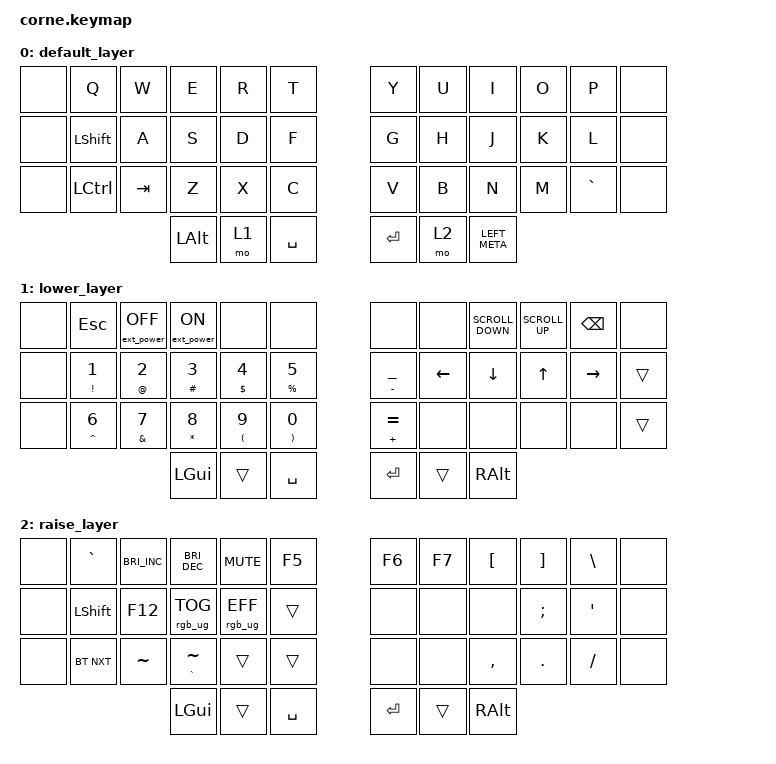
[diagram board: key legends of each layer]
/*
 * Copyright (c) 2020 The ZMK Contributors
 *
 * SPDX-License-Identifier: MIT
 */

#include <behaviors.dtsi>
#include <dt-bindings/zmk/bt.h>
#include <dt-bindings/zmk/ext_power.h>
#include <dt-bindings/zmk/keys.h>
#include <dt-bindings/zmk/rgb.h>

/ {
    keymap {
        compatible = "zmk,keymap";

        default_layer {
            // -----------------------------------------------------------------------------------------
            // |  TAB |  Q  |  W  |  E  |  R  |  T  |   |  Y  |  U   |  I  |  O  |  P  | BKSP |
            // | CTRL |  A  |  S  |  D  |  F  |  G  |   |  H  |  J   |  K  |  L  |  ;  |  '   |
            // | SHFT |  Z  |  X  |  C  |  V  |  B  |   |  N  |  M   |  ,  |  .  |  /  | ESC  |
            //                    | GUI | LWR | SPC |   | ENT | RSE  | ALT |

            bindings = <
&none  &kp Q           &kp W    &kp E         &kp R  &kp T        &kp Y    &kp U  &kp I          &kp O  &kp P      &none
&none  &kp LEFT_SHIFT  &kp A    &kp S         &kp D  &kp F        &kp G    &kp H  &kp J          &kp K  &kp L      &none
&none  &kp LCTRL       &kp TAB  &kp Z         &kp X  &kp C        &kp V    &kp B  &kp N          &kp M  &kp GRAVE  &none
                                &kp LEFT_ALT  &mo 1  &kp SPACE    &kp RET  &mo 2  &kp LEFT_META
            >;
        };

        lower_layer {
            // -----------------------------------------------------------------------------------------
            // |  TAB |  1  |  2  |  3  |  4  |  5  |   |  6  |  7  |  8  |  9  |  0  | BKSP |
            // | BTCLR| BT1 | BT2 | BT3 | BT4 | BT5 |   | LFT | DWN |  UP | RGT |     |      |
            // | SHFT |     |     |     |     |     |   |     |     |     |     |     |      |
            //                    | GUI |     | SPC |   | ENT |     | ALT |

            bindings = <
&none  &kp ESCAPE                &ext_power EP_OFF       &ext_power EP_ON       &none                          &none                             &none                 &none     &kp K_SCROLL_DOWN  &kp K_SCROLL_UP  &kp BACKSPACE  &none
&none  &mt EXCLAMATION NUMBER_1  &mt AT_SIGN NUMBER_2    &mt HASH NUMBER_3      &mt DOLLAR NUMBER_4            &mt PERCENT NUMBER_5              &mt MINUS UNDERSCORE  &kp LEFT  &kp DOWN           &kp UP_ARROW     &kp RIGHT      &trans
&none  &mt CARET NUMBER_6        &mt AMPERSAND NUMBER_7  &mt ASTERISK NUMBER_8  &mt LEFT_PARENTHESIS NUMBER_9  &mt RIGHT_PARENTHESIS NUMBER_0    &mt PLUS EQUAL        &none     &none              &none            &none          &trans
                                                         &kp LGUI               &trans                         &kp SPACE                         &kp RET               &trans    &kp RALT
            >;
        };

        raise_layer {
            // -----------------------------------------------------------------------------------------
            // |  TAB |  !  |  @  |  #  |  $  |  %  |   |  ^  |  &  |  *  |  (  |  )  | BKSP |
            // | CTRL |     |     |     |     |     |   |  -  |  =  |  [  |  ]  |  \  |  `   |
            // | SHFT |     |     |     |     |     |   |  _  |  +  |  {  |  }  | "|" |  ~   |
            //                    | GUI |     | SPC |   | ENT |     | ALT |

            bindings = <
&none  &kp GRAVE       &kp C_BRIGHTNESS_INC  &kp C_BRI_DEC    &kp K_MUTE       &kp F5       &kp F6   &kp F7  &kp LBKT   &kp RBKT       &kp BACKSLASH  &none
&none  &kp LEFT_SHIFT  &kp F12               &rgb_ug RGB_TOG  &rgb_ug RGB_EFF  &trans       &none    &none   &none      &kp SEMICOLON  &kp SQT        &none
&none  &bt BT_NXT      &kp TILDE             &mt GRAVE TILDE  &trans           &trans       &none    &none   &kp COMMA  &kp PERIOD     &kp SLASH      &none
                                             &kp LGUI         &trans           &kp SPACE    &kp RET  &trans  &kp RALT
            >;
        };
    };
};
